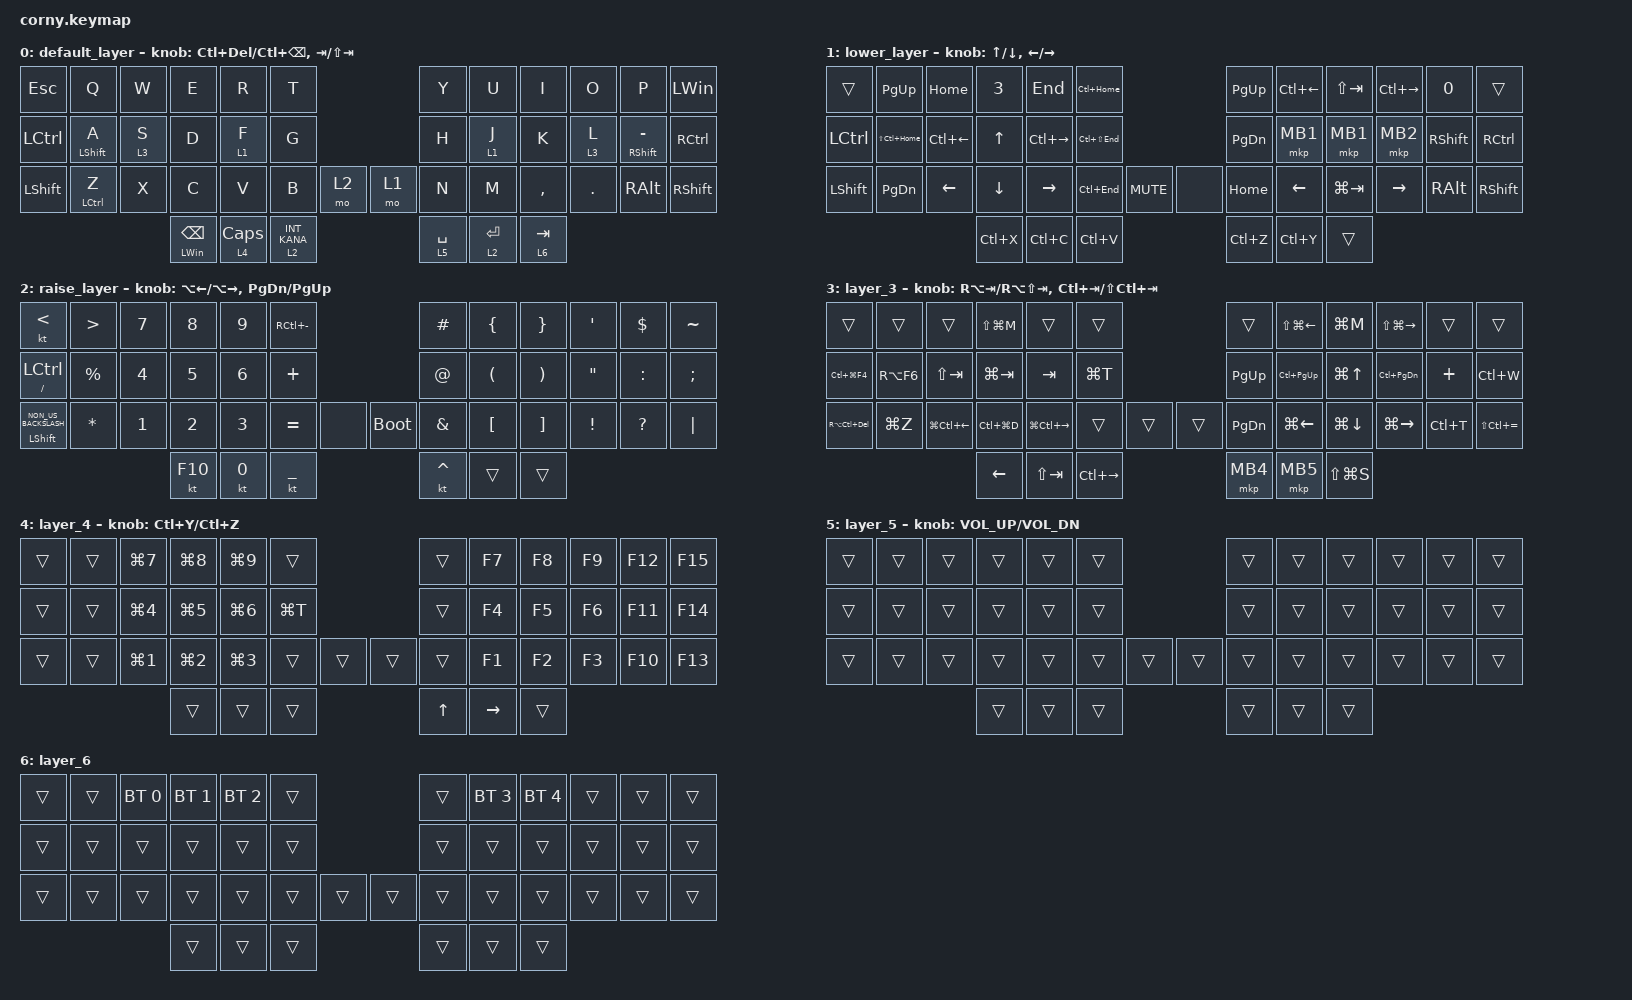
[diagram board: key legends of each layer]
#include <behaviors.dtsi>
#include <dt-bindings/zmk/bt.h>
#include <dt-bindings/zmk/keys.h>
#include <dt-bindings/zmk/keys.h>
#include <dt-bindings/zmk/mouse.h>

&mt { flavor = "tap-preferred"; };

/ {
    combos {
        compatible = "zmk,combos";

        backspace {
            bindings = <&kp BACKSPACE>;
            key-positions = <2 3>;
        };

        pa {
            bindings = <&pa>;
            key-positions = <36 37>;
        };

        login {
            bindings = <&login>;
            key-positions = <22 23>;
        };

        tab {
            bindings = <&kp TAB>;
            key-positions = <32 41>;
        };

        mail {
            bindings = <&mail>;
            key-positions = <10 11>;
        };

        delete {
            bindings = <&kp DELETE>;
            key-positions = <1 2>;
        };

        shifttab {
            bindings = <&kp LS(TAB)>;
            key-positions = <29 17>;
            timeout-ms = <0>;
        };
    };

    macros {
        pa: pa {
            compatible = "zmk,behavior-macro";
            #binding-cells = <0>;
            bindings = <&kp P &kp A &kp S &kp W &kp A &kp R &kp D>;
            label = "PA";
        };

        login: login {
            compatible = "zmk,behavior-macro";
            #binding-cells = <0>;
            bindings = <&kp L &kp O &kp G &kp I &kp N &kp I &kp D>;
            label = "LOGIN";
        };

        mail: mail {
            compatible = "zmk,behavior-macro";
            #binding-cells = <0>;
            bindings = <&kp M &kp A &kp I &kp L &kp AT &kp M &kp A &kp I &kp L &kp DOT &kp J &kp P>;
            label = "MAIL";
        };
    };

    keymap {
        compatible = "zmk,keymap";

        default_layer {
            // -------------------------------------------------------------------------------------------------
            // |  TAB |  Q  |  W  |  E  |  R  |  T  |                    |  Y  |  U   |  I  |  O  |  P  | BKSP |
            // | CTRL |  A  |  S  |  D  |  F  |  G  |                    |  H  |  J   |  K  |  L  |  ;  |  '   |
            // | SHFT |  Z  |  X  |  C  |  V  |  B  |  MUTE  |  |        |  N  |  M   |  ,  |  .  |  /  | ESC  |
            //                    | GUI | LWR | SPC |                    | ENT | RSE  | ALT |

            bindings = <
&kp ESC         &kp Q               &kp W    &kp E                   &kp R           &kp T                         &kp Y        &kp U        &kp I      &kp O    &kp P                  &kp LEFT_WIN
&kp LCTRL       &mt LEFT_SHIFT A    &lt 3 S  &kp D                   &lt 1 F         &kp G                         &kp H        &lt 1 J      &kp K      &lt 3 L  &mt RIGHT_SHIFT MINUS  &kp RCTRL
&kp LEFT_SHIFT  &mt LEFT_CONTROL Z  &kp X    &kp C                   &kp V           &kp B           &mo 2  &mo 1  &kp N        &kp M        &kp COMMA  &kp DOT  &kp RIGHT_ALT          &kp RIGHT_SHIFT
                                             &mt LEFT_WIN BACKSPACE  &lt 4 CAPSLOCK  &lt 2 INT_KANA                &lt 5 SPACE  &lt 2 ENTER  &lt 6 TAB
            >;

            sensor-bindings =
                <&inc_dec_kp LC(DELETE) LC(BACKSPACE)>,
                <&inc_dec_kp TAB LS(TAB)>;
        };

        lower_layer {
            // ------------------------------------------------------------------------------------------------
            // |  TAB |  1  |  2  |  3  |  4  |  5  |                    |  6  |  7  |  8  |  9  |  0  | BKSP |
            // | BTCLR| BT1 | BT2 | BT3 | BT4 | BT5 |                    | LFT | DWN |  UP | RGT |     |  F12 |
            // | SHFT | F1  | F2  | F3  | F4  | F5  |  boot  |  |        |  F6 | F7  | F8  | F9  | F10 |  F11 |
            //                    | GUI |     | SPC |                    | ENT |     | ALT |

            bindings = <
&trans      &kp PAGE_UP       &kp HOME            &kp N3          &kp END          &kp LC(HOME)                        &kp PAGE_UP    &kp LC(LEFT_ARROW)  &kp LS(TAB)  &kp LC(RIGHT)  &kp N0           &trans
&kp LCTRL   &kp LS(LC(HOME))  &kp LC(LEFT_ARROW)  &kp UP_ARROW    &kp LC(RIGHT)    &kp LC(LS(END))                     &kp PAGE_DOWN  &mkp MB1            &mkp MB1     &mkp MB2       &kp RIGHT_SHIFT  &kp RCTRL
&kp LSHIFT  &kp PAGE_DOWN     &kp LEFT_ARROW      &kp DOWN_ARROW  &kp RIGHT_ARROW  &kp LC(END)      &kp K_MUTE  &none  &kp HOME       &kp LEFT_ARROW      &kp LG(TAB)  &kp RIGHT      &kp RIGHT_ALT    &kp RIGHT_SHIFT
                                                  &kp LC(X)       &kp LC(C)        &kp LC(V)                           &kp LC(Z)      &kp LC(Y)           &trans
            >;

            sensor-bindings =
                <&inc_dec_kp UP_ARROW DOWN>,
                <&inc_dec_kp LEFT_ARROW RIGHT_ARROW>;
        };

        raise_layer {
            // ------------------------------------------------------------------------------------------------
            // |  TAB |  !  |  @  |  #  |  $  |  %  |                    |  ^  |  &  |  *  |  (  |  )  | BKSP |
            // | CTRL |     |     |     |     |     |                    |  -  |  =  |  [  |  ]  |  \  |  `   |
            // | SHFT |     |     |     |     |     |        |  |  boot  |  _  |  +  |  {  |  }  | "|" |  ~   |
            //                    | GUI |     | SPC |                    | ENT |     | ALT |

            bindings = <
&kt LESS_THAN                    &kp GREATER_THAN  &kp NUMBER_7  &kp NUMBER_8  &kp NUMBER_9  &kp RC(MINUS)                       &kp HASH       &kp LEFT_BRACE        &kp RIGHT_BRACE        &kp SQT            &kp DOLLAR    &kp TILDE
&mt SLASH LCTRL                  &kp PERCENT       &kp NUMBER_4  &kp NUMBER_5  &kp NUMBER_6  &kp PLUS                            &kp AT_SIGN    &kp LEFT_PARENTHESIS  &kp RIGHT_PARENTHESIS  &kp DOUBLE_QUOTES  &kp COLON     &kp SEMICOLON
&mt LEFT_SHIFT NON_US_BACKSLASH  &kp ASTERISK      &kp NUMBER_1  &kp NUMBER_2  &kp NUMBER_3  &kp EQUAL       &none  &bootloader  &kp AMPERSAND  &kp LEFT_BRACKET      &kp RIGHT_BRACKET      &kp EXCLAMATION    &kp QUESTION  &kp PIPE
                                                                 &kt F10       &kt NUMBER_0  &kt UNDERSCORE                      &kt CARET      &trans                &trans
            >;

            sensor-bindings =
                <&inc_dec_kp LA(LEFT_ARROW) LA(RIGHT_ARROW)>,
                <&inc_dec_kp PAGE_DOWN PAGE_UP>;
        };

        layer_3 {
            bindings = <
&trans           &trans      &trans            &kp LS(LG(M))  &trans             &trans                         &trans         &kp LS(LG(LEFT))    &kp LG(M)           &kp LS(LG(RIGHT))    &trans     &trans
&kp LC(LG(F4))   &kp RA(F6)  &kp LS(TAB)       &kp LG(TAB)    &kp TAB            &kp LG(T)                      &kp PAGE_UP    &kp LC(PAGE_UP)     &kp LG(UP_ARROW)    &kp LC(PAGE_DOWN)    &kp PLUS   &kp LC(W)
&kp RA(LC(DEL))  &kp LG(Z)   &kp LG(LC(LEFT))  &kp LC(LG(D))  &kp LG(LC(RIGHT))  &trans         &trans  &trans  &kp PAGE_DOWN  &kp LG(LEFT_ARROW)  &kp LG(DOWN_ARROW)  &kp LG(RIGHT_ARROW)  &kp LC(T)  &kp LS(LC(EQUAL))
                                               &kp LEFT       &kp LS(TAB)        &kp LC(RIGHT)                  &mkp MB4       &mkp MB5            &kp LS(LG(S))
            >;

            sensor-bindings =
                <&inc_dec_kp RA(TAB) RA(LS(TAB))>,
                <&inc_dec_kp LC(TAB) LS(LC(TAB))>;
        };

        layer_4 {
            bindings = <
&trans  &trans  &kp LG(NUMBER_7)  &kp LG(NUMBER_8)  &kp LG(NUMBER_9)  &trans                     &trans        &kp F7     &kp F8  &kp F9  &kp F12  &kp F15
&trans  &trans  &kp LG(NUMBER_4)  &kp LG(NUMBER_5)  &kp LG(NUMBER_6)  &kp LG(T)                  &trans        &kp F4     &kp F5  &kp F6  &kp F11  &kp F14
&trans  &trans  &kp LG(NUMBER_1)  &kp LG(NUMBER_2)  &kp LG(NUMBER_3)  &trans     &trans  &trans  &trans        &kp F1     &kp F2  &kp F3  &kp F10  &kp F13
                                  &trans            &trans            &trans                     &kp UP_ARROW  &kp RIGHT  &trans
            >;

            sensor-bindings = <&inc_dec_kp LC(Y) LC(Z)>;
        };

        layer_5 {
            bindings = <
&trans  &trans  &trans  &trans  &trans  &trans                  &trans  &trans  &trans  &trans  &trans  &trans
&trans  &trans  &trans  &trans  &trans  &trans                  &trans  &trans  &trans  &trans  &trans  &trans
&trans  &trans  &trans  &trans  &trans  &trans  &trans  &trans  &trans  &trans  &trans  &trans  &trans  &trans
                        &trans  &trans  &trans                  &trans  &trans  &trans
            >;

            sensor-bindings = <&inc_dec_kp C_VOL_UP C_VOL_DN>;
        };

        layer_6 {
            bindings = <
&trans  &trans  &bt BT_SEL 0  &bt BT_SEL 1  &bt BT_SEL 2  &trans                  &trans  &bt BT_SEL 3  &bt BT_SEL 4  &trans  &trans  &trans
&trans  &trans  &trans        &trans        &trans        &trans                  &trans  &trans        &trans        &trans  &trans  &trans
&trans  &trans  &trans        &trans        &trans        &trans  &trans  &trans  &trans  &trans        &trans        &trans  &trans  &trans
                              &trans        &trans        &trans                  &trans  &trans        &trans
            >;
        };
    };
};
